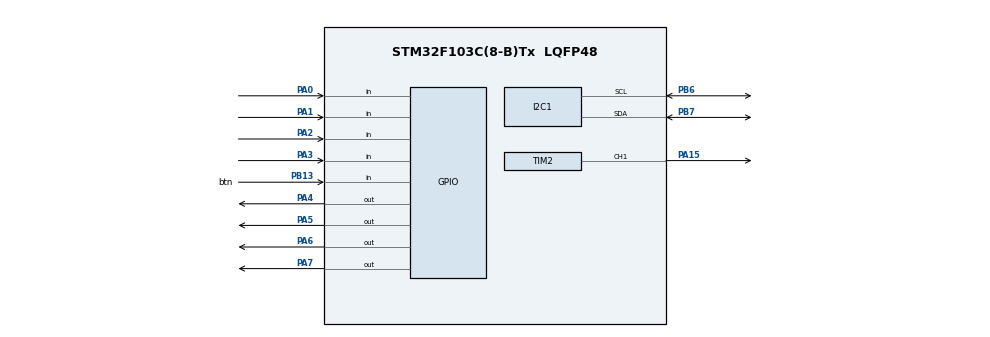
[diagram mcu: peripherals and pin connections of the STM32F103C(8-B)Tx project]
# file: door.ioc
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Mcu.Family=STM32F1
Mcu.Name=STM32F103C(8-B)Tx
Mcu.Package=LQFP48
NVIC.PriorityGroup=NVIC_PRIORITYGROUP_4
PA0-WKUP.GPIO_PuPd=GPIO_PULLUP
PA0-WKUP.Signal=GPIO_Input
PA1.GPIO_PuPd=GPIO_PULLUP
PA1.Signal=GPIO_Input
PA13.Mode=Serial_Wire
PA13.Signal=SYS_JTMS-SWDIO
PA14.Mode=Serial_Wire
PA14.Signal=SYS_JTCK-SWCLK
PA15.Signal=S_TIM2_CH1_ETR
PA2.GPIO_PuPd=GPIO_PULLUP
PA2.Signal=GPIO_Input
PA3.GPIO_PuPd=GPIO_PULLUP
PA3.Signal=GPIO_Input
PA4.GPIO_ModeDefaultOutputPP=GPIO_MODE_OUTPUT_PP
PA4.GPIO_PuPd=GPIO_NOPULL
PA4.Signal=GPIO_Output
PA5.GPIO_ModeDefaultOutputPP=GPIO_MODE_OUTPUT_PP
PA5.GPIO_PuPd=GPIO_NOPULL
PA5.Signal=GPIO_Output
PA6.GPIO_ModeDefaultOutputPP=GPIO_MODE_OUTPUT_PP
PA6.GPIO_PuPd=GPIO_NOPULL
PA6.Signal=GPIO_Output
PA7.GPIO_ModeDefaultOutputPP=GPIO_MODE_OUTPUT_PP
PA7.GPIO_PuPd=GPIO_NOPULL
PA7.Signal=GPIO_Output
PB13.GPIO_Label=btn
PB13.GPIO_PuPd=GPIO_PULLUP
PB13.Signal=GPIO_Input
PB6.Mode=I2C
PB6.Signal=I2C1_SCL
PB7.Mode=I2C
PB7.Signal=I2C1_SDA
ProjectManager.HeapSize=0x200
ProjectManager.StackSize=0x400
ProjectManager.TargetToolchain=MDK-ARM V5
RCC.APB1Freq_Value=8000000
RCC.APB2Freq_Value=8000000
SH.S_TIM2_CH1_ETR.0=TIM2_CH1,PWM Generation1 CH1
TIM2.Channel-PWM\ Generation1\ CH1=TIM_CHANNEL_1
TIM2.Period=199
TIM2.Prescaler=799
VP_TIM2_VS_ClockSourceINT.Mode=Internal
board=custom

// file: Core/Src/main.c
/* USER CODE BEGIN Header */
/**
  ******************************************************************************
  * @file           : main.c
  * @brief          : Main program body
  ******************************************************************************
  * @attention
  *
  * Copyright (c) 2024 STMicroelectronics.
  * All rights reserved.
  *
  * This software is licensed under terms that can be found in the LICENSE file
  * in the root directory of this software component.
  * If no LICENSE file comes with this software, it is provided AS-IS.
  *
  ******************************************************************************
  */
/* USER CODE END Header */
#include "main.h"

/* USER CODE BEGIN Includes */
#include "STM32_Keypad4x4.h"
#include "i2c-lcd.h"
#include "string.h"
#include "stdio.h"
/* USER CODE END Includes */

I2C_HandleTypeDef hi2c1;

TIM_HandleTypeDef htim2;

/* USER CODE BEGIN PV */
uint8_t state = 0;
char Key ;
char str[20];
char pw[5];
char pass[] = "1234"; // pass mo cua
int i=0;
/* USER CODE END PV */

void SystemClock_Config(void);
static void MX_GPIO_Init(void);
static void MX_I2C1_Init(void);
static void MX_TIM2_Init(void);

/* USER CODE BEGIN 0 */
void btn_click(){
		if(HAL_GPIO_ReadPin(btn_GPIO_Port,btn_Pin) == 0){
			while(HAL_GPIO_ReadPin(btn_GPIO_Port,btn_Pin) == 0){}
			state =~state;
		}
		if(state==0){
			__HAL_TIM_SET_COMPARE(&htim2,TIM_CHANNEL_1,10);//1ms
		}else{
			__HAL_TIM_SET_COMPARE(&htim2,TIM_CHANNEL_1,15); // 1.5ms
		}
}
/* USER CODE END 0 */

int main(void)
{

  /* MCU Configuration--------------------------------------------------------*/

  /* Reset of all peripherals, Initializes the Flash interface and the Systick. */
  HAL_Init();

  /* Configure the system clock */
  SystemClock_Config();

  /* Initialize all configured peripherals */
  MX_GPIO_Init();
  MX_I2C1_Init();
  MX_TIM2_Init();
  /* USER CODE BEGIN 2 */
HAL_TIM_PWM_Start(&htim2,TIM_CHANNEL_1);
	lcd_init();
	lcd_put_cur(0,0);
	lcd_send_string("XIN CHAO");
	HAL_Delay(3000);
  /* USER CODE END 2 */

  /* Infinite loop */
  /* USER CODE BEGIN WHILE */

	/*servo sg90 hoat dong tai tan so 50HZ
	1ms: 0do
	1.5ms 90do
	2ms180do*/
	__HAL_TIM_SET_COMPARE(&htim2,TIM_CHANNEL_1,10); // 1ms
  while (1)
  {
    /* USER CODE END WHILE */

    /* USER CODE BEGIN 3 */
		lcd_clear();
	 lcd_put_cur(0,0);
	  lcd_send_string("NHAP MAT KHAU");
		btn_click();

		// nhap mk
		Key = KEYPAD_Read();
		if(Key != KEYPAD_NOT_PRESSED){
			pw[i]= Key;
			if(i==0){
				sprintf(str,"%d",Key);
				lcd_put_cur(1,6);
	      lcd_send_string(str);
			}
			if(i==1){
				sprintf(str,"%d",Key);
				lcd_put_cur(1,7);
	      lcd_send_string(str);
			}
			if(i==2){
				sprintf(str,"%d",Key);
				lcd_put_cur(1,8);
	      lcd_send_string(str);
			}
			if(i==3){
				sprintf(str,"%d",Key);
				lcd_put_cur(1,9);
	      lcd_send_string(str);
			}
			i++;
		}
		//check
		if(i==4){
				if(!strcmp(pw,pass)){ // dung
						lcd_clear();
						lcd_put_cur(0,0);
					 lcd_send_string("MO CUA");
					 i=0;
						__HAL_TIM_SET_COMPARE(&htim2,TIM_CHANNEL_1,15);
				}if(strcmp(pw,pass)){ // sai
						lcd_clear();
						lcd_put_cur(0,0);
					  lcd_send_string("SAI MAT KHAU");
					  i=0;
				}
		}

  }
  /* USER CODE END 3 */
}

void SystemClock_Config(void)
{
  RCC_OscInitTypeDef RCC_OscInitStruct = {0};
  RCC_ClkInitTypeDef RCC_ClkInitStruct = {0};

  /** Initializes the RCC Oscillators according to the specified parameters
  * in the RCC_OscInitTypeDef structure.
  */
  RCC_OscInitStruct.OscillatorType = RCC_OSCILLATORTYPE_HSI;
  RCC_OscInitStruct.HSIState = RCC_HSI_ON;
  RCC_OscInitStruct.HSICalibrationValue = RCC_HSICALIBRATION_DEFAULT;
  RCC_OscInitStruct.PLL.PLLState = RCC_PLL_NONE;
  if (HAL_RCC_OscConfig(&RCC_OscInitStruct) != HAL_OK)
  {
    Error_Handler();
  }

  /** Initializes the CPU, AHB and APB buses clocks
  */
  RCC_ClkInitStruct.ClockType = RCC_CLOCKTYPE_HCLK|RCC_CLOCKTYPE_SYSCLK
                              |RCC_CLOCKTYPE_PCLK1|RCC_CLOCKTYPE_PCLK2;
  RCC_ClkInitStruct.SYSCLKSource = RCC_SYSCLKSOURCE_HSI;
  RCC_ClkInitStruct.AHBCLKDivider = RCC_SYSCLK_DIV1;
  RCC_ClkInitStruct.APB1CLKDivider = RCC_HCLK_DIV1;
  RCC_ClkInitStruct.APB2CLKDivider = RCC_HCLK_DIV1;

  if (HAL_RCC_ClockConfig(&RCC_ClkInitStruct, FLASH_LATENCY_0) != HAL_OK)
  {
    Error_Handler();
  }
}

static void MX_I2C1_Init(void)
{

  hi2c1.Instance = I2C1;
  hi2c1.Init.ClockSpeed = 100000;
  hi2c1.Init.DutyCycle = I2C_DUTYCYCLE_2;
  hi2c1.Init.OwnAddress1 = 0;
  hi2c1.Init.AddressingMode = I2C_ADDRESSINGMODE_7BIT;
  hi2c1.Init.DualAddressMode = I2C_DUALADDRESS_DISABLE;
  hi2c1.Init.OwnAddress2 = 0;
  hi2c1.Init.GeneralCallMode = I2C_GENERALCALL_DISABLE;
  hi2c1.Init.NoStretchMode = I2C_NOSTRETCH_DISABLE;
  if (HAL_I2C_Init(&hi2c1) != HAL_OK)
  {
    Error_Handler();
  }

}

static void MX_TIM2_Init(void)
{

  TIM_ClockConfigTypeDef sClockSourceConfig = {0};
  TIM_MasterConfigTypeDef sMasterConfig = {0};
  TIM_OC_InitTypeDef sConfigOC = {0};

  htim2.Instance = TIM2;
  htim2.Init.Prescaler = 799;
  htim2.Init.CounterMode = TIM_COUNTERMODE_UP;
  htim2.Init.Period = 199;
  htim2.Init.ClockDivision = TIM_CLOCKDIVISION_DIV1;
  htim2.Init.AutoReloadPreload = TIM_AUTORELOAD_PRELOAD_DISABLE;
  if (HAL_TIM_Base_Init(&htim2) != HAL_OK)
  {
    Error_Handler();
  }
  sClockSourceConfig.ClockSource = TIM_CLOCKSOURCE_INTERNAL;
  if (HAL_TIM_ConfigClockSource(&htim2, &sClockSourceConfig) != HAL_OK)
  {
    Error_Handler();
  }
  if (HAL_TIM_PWM_Init(&htim2) != HAL_OK)
  {
    Error_Handler();
  }
  sMasterConfig.MasterOutputTrigger = TIM_TRGO_RESET;
  sMasterConfig.MasterSlaveMode = TIM_MASTERSLAVEMODE_DISABLE;
  if (HAL_TIMEx_MasterConfigSynchronization(&htim2, &sMasterConfig) != HAL_OK)
  {
    Error_Handler();
  }
  sConfigOC.OCMode = TIM_OCMODE_PWM1;
  sConfigOC.Pulse = 0;
  sConfigOC.OCPolarity = TIM_OCPOLARITY_HIGH;
  sConfigOC.OCFastMode = TIM_OCFAST_DISABLE;
  if (HAL_TIM_PWM_ConfigChannel(&htim2, &sConfigOC, TIM_CHANNEL_1) != HAL_OK)
  {
    Error_Handler();
  }
  HAL_TIM_MspPostInit(&htim2);

}

static void MX_GPIO_Init(void)
{
  GPIO_InitTypeDef GPIO_InitStruct = {0};

  /* GPIO Ports Clock Enable */
  __HAL_RCC_GPIOA_CLK_ENABLE();
  __HAL_RCC_GPIOB_CLK_ENABLE();

  /*Configure GPIO pin Output Level */
  HAL_GPIO_WritePin(GPIOA, GPIO_PIN_4|GPIO_PIN_5|GPIO_PIN_6|GPIO_PIN_7, GPIO_PIN_RESET);

  /*Configure GPIO pins : PA0 PA1 PA2 PA3 */
  GPIO_InitStruct.Pin = GPIO_PIN_0|GPIO_PIN_1|GPIO_PIN_2|GPIO_PIN_3;
  GPIO_InitStruct.Mode = GPIO_MODE_INPUT;
  GPIO_InitStruct.Pull = GPIO_PULLUP;
  HAL_GPIO_Init(GPIOA, &GPIO_InitStruct);

  /*Configure GPIO pins : PA4 PA5 PA6 PA7 */
  GPIO_InitStruct.Pin = GPIO_PIN_4|GPIO_PIN_5|GPIO_PIN_6|GPIO_PIN_7;
  GPIO_InitStruct.Mode = GPIO_MODE_OUTPUT_PP;
  GPIO_InitStruct.Pull = GPIO_NOPULL;
  GPIO_InitStruct.Speed = GPIO_SPEED_FREQ_LOW;
  HAL_GPIO_Init(GPIOA, &GPIO_InitStruct);

  /*Configure GPIO pin : btn_Pin */
  GPIO_InitStruct.Pin = btn_Pin;
  GPIO_InitStruct.Mode = GPIO_MODE_INPUT;
  GPIO_InitStruct.Pull = GPIO_PULLUP;
  HAL_GPIO_Init(btn_GPIO_Port, &GPIO_InitStruct);

}

void Error_Handler(void)
{
  __disable_irq();
  while (1)
  {
  }
}
